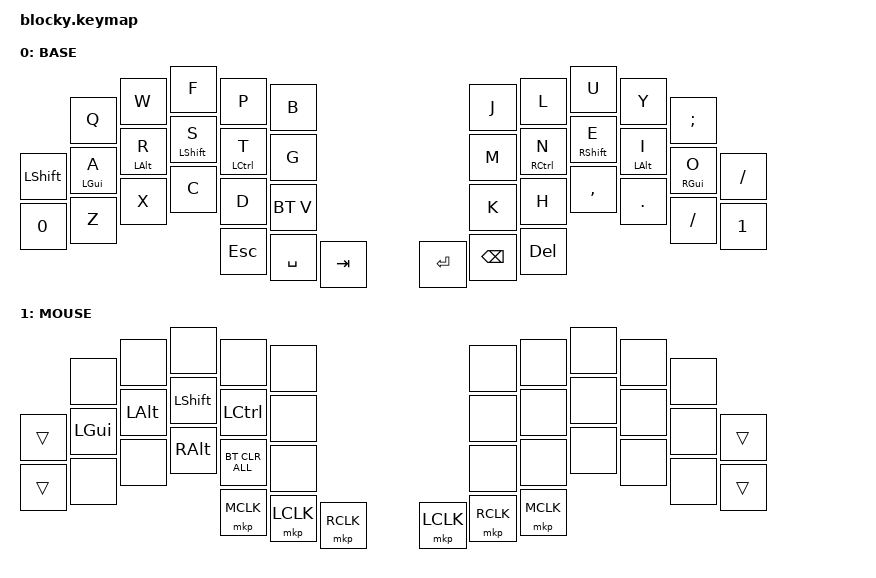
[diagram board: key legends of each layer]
//
//                                                                      ▀  ▀  ▀
//
// ▄▄▄▄▄▄▄▄▄▄▄▄▄▄▄▄▄▄▄▄▄▄▄▄▄▄▄▄▄▄▄▄▄▄▄▄▄▄▄▄▄▄▄▄▄▄▄▄▄▄▄▄▄▄▄▄▄▄▄▄▄▄▄▄▄▄▄▄▄▄▄▄▄▄▄▄▄▄▄▄▄▄▄▄▄▄▄▄▄▄▄▄▄▄▄▄▄▄▄▄▄▄▄▄▄▄▄▄▄▄▄▄▄▄▄▄▄▄▄▄▄▄▄▄▄▄▄▄▄▄▄▄▄▄▄▄▄▄▄▄▄▄▄▄▄▄▄▄▄


#include <behaviors.dtsi>
#include <dt-bindings/zmk/keys.h>
#include <dt-bindings/zmk/bt.h>
#include <dt-bindings/zmk/outputs.h>
#include <behaviors/rgbled_widget.dtsi>

#define BASE 0
#define MOUSE_TP 1

#define HAS_MOUSE_KEYS
#define HAS_MOUSE_TP

#ifdef HAS_MOUSE_KEYS
  #include <dt-bindings/zmk/mouse.h>
  #include <behaviors/mouse_keys.dtsi>
#endif  // HAS_MOUSE_KEYS



&mt {
  quick-tap-ms = <100>;
  global-quick-tap;
  flavor = "tap-preferred";
  tapping-term-ms = <170>;
};

/ {
    aliases {
        led-red = &led0;
        led-green = &led1;
        led-blue = &led2;
    };

    leds {
        status = "okay";
    };
    // combos {
    //         compatible = "zmk,combos";
    //         combo_esc {
    //             timeout-ms = <50>;
    //             key-positions = <0 1>;
    //             bindings = <&kp ESC>;
    //         };
    // };

    // macros {
    //     gif: gif {
    //         label = "giphy";
    //         compatible = "zmk,behavior-macro";
    //         #binding-cells = <0>;
    //         bindings
    //             = <&macro_press &kp LSHFT>
    //             , <&macro_tap &kp N2>
    //             , <&macro_release &kp LSHFT>
    //             , <&macro_tap &kp G &kp I &kp F>
    //             ;
    //     };
    // };

        keymap {
                compatible = "zmk,keymap";
// ▄▄▄▄▄▄▄▄▄▄▄▄▄▄▄▄▄▄▄▄▄▄▄▄▄▄▄▄▄▄▄▄▄▄▄▄▄▄▄▄▄▄▄▄▄▄▄▄▄▄▄▄▄▄▄▄▄▄▄▄▄▄▄▄▄▄▄▄▄▄▄▄▄▄▄▄▄▄▄▄▄▄▄▄▄▄▄▄▄▄▄▄▄▄▄▄▄▄▄▄▄▄▄▄▄▄▄▄▄▄▄▄▄▄▄▄▄▄▄▄▄▄▄▄▄▄▄▄▄▄▄▄▄▄▄▄▄▄▄▄▄▄▄▄▄▄▄▄▄

                base_layer {
// ┏━━━━━━━━━━━━━━━━━━━━━━━━━━━━━━━━━━━━━━━┓
display-name= "BASE"                              ;
// ┗━━━━━━━━━━━━━━━━━━━━━━━━━━━━━━━━━━━━━━━┛
//             ┏━━━━━━━━━━━┳━━━━━━━━━━━┳━━━━━━━━━━━┳━━━━━━━━━━━┳━━━━━━━━━━━┓   ┏━━━━━━━━━━━┳━━━━━━━━━━━┳━━━━━━━━━━━┳━━━━━━━━━━━┳━━━━━━━━━━━┓
//             ┃     Q     ┃     W     ┃     F     ┃     P     ┃     B     ┃   ┃     J     ┃     L     ┃     U     ┃     Y     ┃     ;     ┃
// ┏━━━━━━━━━━━╋━━━━━━━━━━━╋━━━━━━━━━━━╋━━━━━━━━━━━╋━━━━━━━━━━━╋━━━━━━━━━━━┫   ┣━━━━━━━━━━━╋━━━━━━━━━━━╋━━━━━━━━━━━╋━━━━━━━━━━━╋━━━━━━━━━━━╋━━━━━━━━━━━┓
// ┃           ┃     A     ┃     R     ┃     S     ┃     T     ┃     G     ┃   ┃     M     ┃     N     ┃     E     ┃     I     ┃     O     ┃           ┃
// ┣━━━━━━━━━━━╋━━━━━━━━━━━╋━━━━━━━━━━━╋━━━━━━━━━━━╋━━━━━━━━━━━╋━━━━━━━━━━━┫   ┣━━━━━━━━━━━╋━━━━━━━━━━━╋━━━━━━━━━━━╋━━━━━━━━━━━╋━━━━━━━━━━━╋━━━━━━━━━━━┫
// ┃           ┃     Z     ┃     X     ┃     C     ┃     D     ┃     V     ┃   ┃     K     ┃     M     ┃     ,     ┃     .     ┃     /     ┃           ┃
// ┗━━━━━━━━━━━┻━━━━━━━━━━━┻━━━━━━━━━━━╋━━━━━━━━━━━╋━━━━━━━━━━━╋━━━━━━━━━━━┫   ┣━━━━━━━━━━━╋━━━━━━━━━━━╋━━━━━━━━━━━╋━━━━━━━━━━━┻━━━━━━━━━━━┻━━━━━━━━━━━┛
//                                     ┃    ESC    ┃    SPC    ┃    TAB    ┃   ┃   ENTER   ┃   BSPC    ┃   DELETE  ┃
//                                     ┗━━━━━━━━━━━┻━━━━━━━━━━━┻━━━━━━━━━━━┛   ┗━━━━━━━━━━━┻━━━━━━━━━━━┻━━━━━━━━━━━┛
 bindings = <
// ╷           ╷           ╷           ╷           ╷           ╷           ╷   ╷           ╷           ╷           ╷           ╷           ╷           ╷

                &kp Q       &kp W       &kp F       &kp P       &kp B           &kp J       &kp L       &kp U       &kp Y       &kp SEMICOLON
    &kp LSHFT   &mt LGUI A  &mt LALT R  &mt LSHFT S &mt LCTRL T &kp G           &kp M       &mt RCTRL N &mt RSHFT E &mt LALT I  &mt RGUI O  &kp FSLH
    &kp 0       &kp Z       &kp X       &kp C       &kp D       &bt V           &kp K       &kp H       &kp COMMA   &kp DOT     &kp FSLH    &kp 1
                                        &kp ESC     &kp SPACE   &kp TAB         &kp RET     &kp BSPC    &kp DEL
                        >;
                };

                mouse_layer {
display-name="MOUSE";
bindings = <
// ╷           ╷           ╷           ╷           ╷           ╷           ╷   ╷           ╷           ╷           ╷           ╷           ╷           ╷

                &none       &none       &none       &none       &none           &none       &none       &none       &none       &none
    &trans      &kp LGUI    &kp LALT    &kp LSHIFT  &kp LCTRL   &none           &none       &none       &none       &none       &none       &trans
    &trans      &none       &none       &kp RALT    &bt BT_CLR_ALL &none        &none       &none       &none       &none       &none       &trans
                                        &mkp MCLK   &mkp LCLK   &mkp RCLK       &mkp LCLK   &mkp RCLK   &mkp MCLK
                        >;
                };
        };
};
